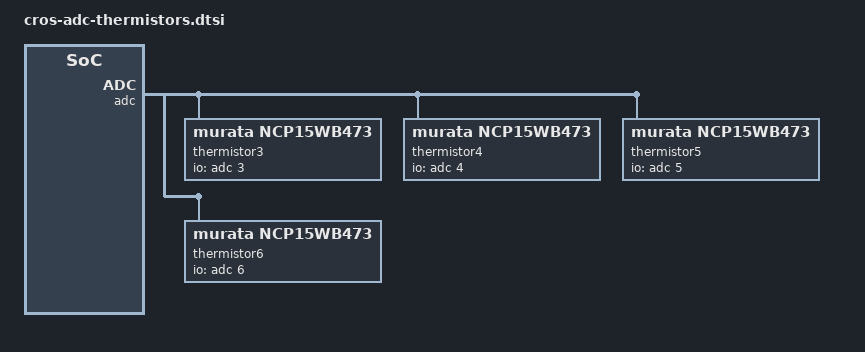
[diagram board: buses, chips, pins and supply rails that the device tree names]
&adc {
	thermistor3 {
		compatible = "murata,ncp15wb473";
		pullup-uv = <1800000>;
		pullup-ohm = <47000>;
		pulldown-ohm = <0>;
		io-channels = <&adc 3>;
	};
	thermistor4 {
		compatible = "murata,ncp15wb473";
		pullup-uv = <1800000>;
		pullup-ohm = <47000>;
		pulldown-ohm = <0>;
		io-channels = <&adc 4>;
	};
	thermistor5 {
		compatible = "murata,ncp15wb473";
		pullup-uv = <1800000>;
		pullup-ohm = <47000>;
		pulldown-ohm = <0>;
		io-channels = <&adc 5>;
	};
	thermistor6 {
		compatible = "murata,ncp15wb473";
		pullup-uv = <1800000>;
		pullup-ohm = <47000>;
		pulldown-ohm = <0>;
		io-channels = <&adc 6>;
	};
};
